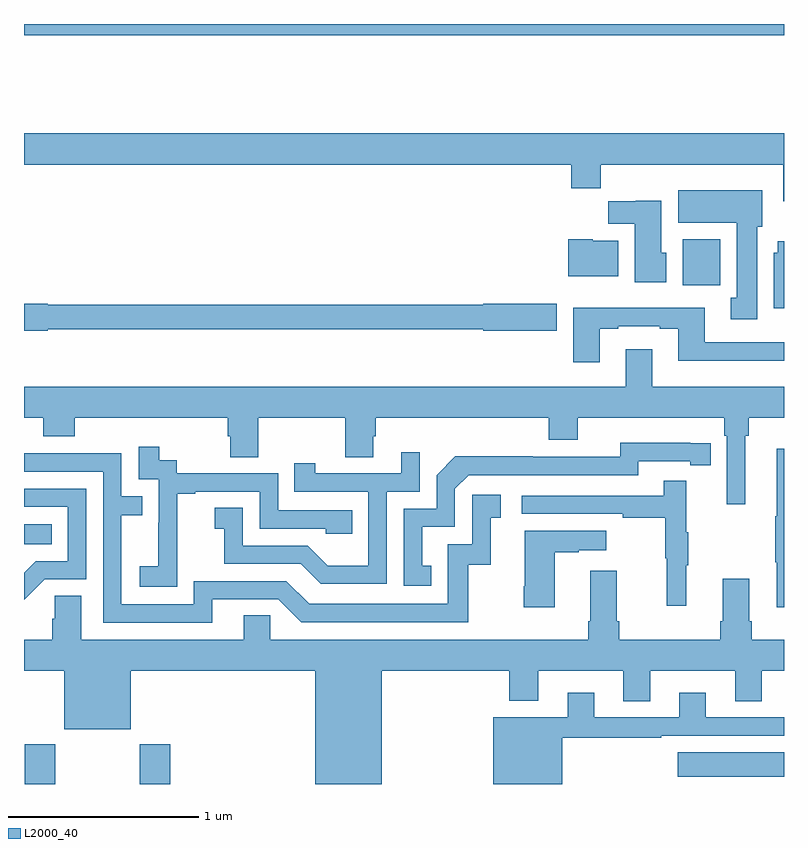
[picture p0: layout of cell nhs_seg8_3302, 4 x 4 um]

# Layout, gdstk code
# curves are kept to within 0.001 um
import gdstk
lib = gdstk.Library(unit=1e-6, precision=1e-09)
def R(c, l, rs):  # rectangles x0, y0, x1, y1
    for r in rs: c.add(gdstk.rectangle(r[:2], r[2:], *l))
def P(c, l, *ps):  # polygons
    for p in ps: c.add(gdstk.Polygon(p, *l))
L2000_40 = (2000, 40)

nhs_seg8_3302 = lib.new_cell('nhs_seg8_3302')
R(nhs_seg8_3302, L2000_40, [(315.005,1119.9,315.165,1120.108), (315.61,1119.9,315.77,1120.108), (318.441,1119.938,319,1120.066), (315,1121.162,315.146,1121.266), (318.467,1122.524,318.664,1122.766), (315,1123.84,319,1123.9)])
P(nhs_seg8_3302, L2000_40, [(319,1123.324),(315,1123.324),(315,1123.16),(317.879,1123.16),(317.879,1123.036),(318.035,1123.036),(318.035,1123.16),(318.995,1123.16),(318.995,1122.966),(319,1122.966)],
  [(318.859,1122.834),(318.886,1122.834),(318.886,1123.024),(318.443,1123.024),(318.443,1122.854),(318.752,1122.854),(318.752,1122.458),(318.719,1122.458),(318.719,1122.345),(318.859,1122.345)],
  [(318.379,1122.696),(318.355,1122.696),(318.355,1122.97),(318.219,1122.97),(318.219,1122.966),(318.076,1122.966),(318.076,1122.848),(318.215,1122.848),(318.215,1122.542),(318.379,1122.542)],
  [(318.127,1122.76),(317.994,1122.76),(317.994,1122.766),(317.864,1122.766),(317.864,1122.572),(318.127,1122.572)],
  [(319,1122.757),(318.968,1122.757),(318.968,1122.696),(318.947,1122.696),(318.947,1122.404),(319,1122.404)],
  [(315.126,1122.294),(317.418,1122.294),(317.418,1122.286),(317.803,1122.286),(317.803,1122.428),(317.418,1122.428),(317.418,1122.422),(315.126,1122.422),(315.126,1122.428),(315,1122.428),(315,1122.286),(315.126,1122.286)],
  [(318.031,1122.297),(318.127,1122.297),(318.127,1122.309),(318.347,1122.309),(318.347,1122.297),(318.443,1122.297),(318.443,1122.128),(319,1122.128),(319,1122.225),(318.583,1122.225),(318.583,1122.406),(317.891,1122.406),(317.891,1122.12),(318.031,1122.12)],
  [(318.796,1121.732),(318.815,1121.732),(318.815,1121.828),(319,1121.828),(319,1121.992),(318.307,1121.992),(318.307,1122.187),(318.167,1122.187),(318.167,1121.992),(315,1121.992),(315,1121.828),(315.101,1121.828),(315.101,1121.729),(315.266,1121.729),(315.266,1121.828),(316.073,1121.828),(316.073,1121.73),(316.085,1121.73),(316.085,1121.62),(316.233,1121.62),(316.233,1121.828),(316.69,1121.828),(316.69,1121.62),(316.837,1121.62),(316.837,1121.73),(316.85,1121.73),(316.85,1121.828),(317.762,1121.828),(317.762,1121.711),(317.914,1121.711),(317.914,1121.828),(318.686,1121.828),(318.686,1121.732),(318.699,1121.732),(318.699,1121.373),(318.796,1121.373)],
  [(317.144,1121.049),(317.095,1121.049),(317.095,1121.253),(317.268,1121.253),(317.268,1121.454),(317.34,1121.526),(318.234,1121.526),(318.234,1121.598),(318.506,1121.598),(318.506,1121.578),(318.614,1121.578),(318.614,1121.694),(318.138,1121.695),(318.138,1121.622),(317.678,1121.622),(317.678,1121.624),(317.27,1121.624),(317.172,1121.526),(317.172,1121.349),(316.998,1121.349),(316.998,1120.944),(317.144,1120.944)],
  [(315.807,1121.143),(315.806,1121.143),(315.806,1121.427),(315.901,1121.427),(315.901,1121.439),(316.242,1121.439),(316.242,1121.244),(316.587,1121.244),(316.587,1121.217),(316.727,1121.217),(316.727,1121.34),(316.338,1121.34),(316.338,1121.535),(315.804,1121.535),(315.804,1121.604),(315.712,1121.604),(315.712,1121.674),(315.603,1121.674),(315.603,1121.505),(315.708,1121.505),(315.708,1121.276),(315.707,1121.276),(315.707,1121.047),(315.609,1121.047),(315.609,1120.937),(315.807,1120.937)],
  [(319,1121.665),(318.962,1121.665),(318.962,1121.309),(318.955,1121.309),(318.955,1121.068),(318.962,1121.068),(318.962,1120.83),(319,1120.83)],
  [(316.908,1121.439),(317.082,1121.439),(317.082,1121.647),(316.985,1121.647),(316.985,1121.535),(316.534,1121.535),(316.534,1121.587),(316.423,1121.587),(316.423,1121.439),(316.812,1121.439),(316.812,1121.05),(316.598,1121.05),(316.494,1121.154),(316.152,1121.154),(316.152,1121.353),(316.005,1121.353),(316.005,1121.243),(316.054,1121.243),(316.054,1121.058),(316.457,1121.058),(316.562,1120.953),(316.908,1120.953)],
  [(315.991,1120.872),(316.338,1120.872),(316.458,1120.752),(317.338,1120.752),(317.338,1121.055),(317.456,1121.055),(317.456,1121.301),(317.509,1121.301),(317.509,1121.422),(317.358,1121.422),(317.358,1121.163),(317.229,1121.163),(317.229,1120.848),(316.5,1120.848),(316.38,1120.968),(315.894,1120.968),(315.894,1120.845),(315.513,1120.845),(315.513,1121.314),(315.623,1121.314),(315.623,1121.415),(315.513,1121.415),(315.513,1121.64),(315.017,1121.64),(315.017,1121.642),(315,1121.642),(315,1121.544),(315.417,1121.544),(315.417,1120.749),(315.991,1120.749)],
  [(318.485,1121.051),(318.496,1121.051),(318.496,1121.225),(318.485,1121.225),(318.485,1121.497),(318.367,1121.497),(318.367,1121.418),(317.619,1121.418),(317.619,1121.322),(318.151,1121.322),(318.151,1121.302),(318.375,1121.302),(318.375,1121.088),(318.382,1121.088),(318.382,1120.839),(318.485,1120.839)],
  [(315.108,1120.977),(315.327,1120.977),(315.327,1121.454),(315,1121.454),(315,1121.358),(315.231,1121.358),(315.231,1121.073),(315.062,1121.073),(315,1121.011),(315,1120.87)],
  [(317.794,1121.119),(317.921,1121.119),(317.921,1121.129),(318.064,1121.129),(318.064,1121.233),(317.636,1121.233),(317.636,1120.942),(317.629,1120.942),(317.629,1120.83),(317.794,1120.83)],
  [(316.532,1119.9),(316.882,1119.9),(316.882,1120.496),(317.555,1120.496),(317.555,1120.337),(317.707,1120.337),(317.707,1120.496),(318.155,1120.496),(318.155,1120.336),(318.295,1120.336),(318.295,1120.496),(318.743,1120.496),(318.743,1120.336),(318.883,1120.336),(318.883,1120.496),(319,1120.496),(319,1120.66),(318.83,1120.66),(318.83,1120.756),(318.817,1120.756),(318.817,1120.981),(318.677,1120.981),(318.677,1120.756),(318.665,1120.756),(318.665,1120.66),(318.134,1120.66),(318.134,1120.756),(318.121,1120.756),(318.121,1121.023),(317.981,1121.023),(317.981,1120.756),(317.969,1120.756),(317.969,1120.66),(316.296,1120.66),(316.296,1120.787),(316.157,1120.787),(316.157,1120.66),(315.301,1120.66),(315.301,1120.892),(315.162,1120.892),(315.162,1120.769),(315.149,1120.769),(315.149,1120.66),(315,1120.66),(315,1120.496),(315.212,1120.496),(315.212,1120.187),(315.562,1120.187),(315.562,1120.496),(316.532,1120.496)],
  [(317.833,1120.143),(318.353,1120.143),(318.353,1120.155),(319,1120.155),(319,1120.251),(318.589,1120.251),(318.589,1120.381),(318.449,1120.381),(318.449,1120.251),(318.001,1120.251),(318.001,1120.381),(317.861,1120.381),(317.861,1120.252),(317.471,1120.252),(317.471,1119.9),(317.833,1119.9)])

lib.write_gds('nhs_seg8_3302.gds')
